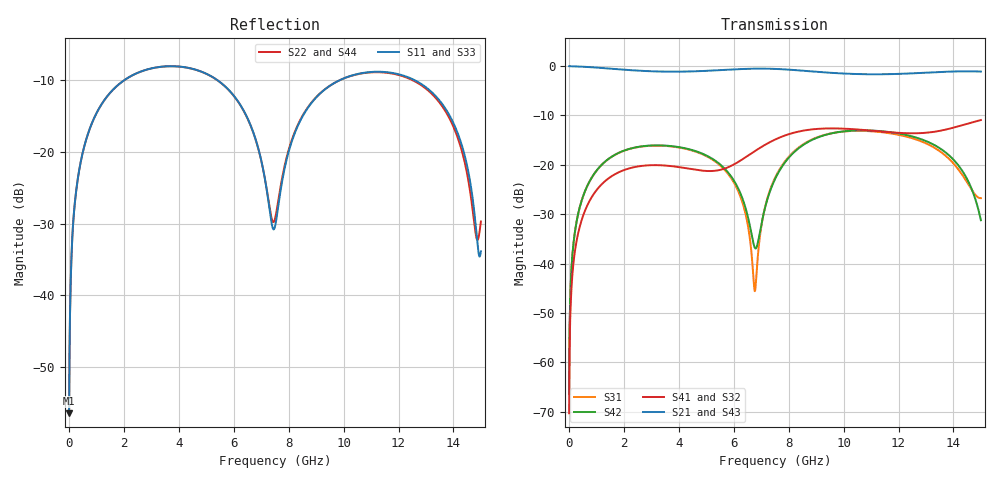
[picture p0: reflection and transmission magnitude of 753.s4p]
! Created with skrf 1.8.0 (http://scikit-rf.org).
# GHz S RI R 50.0
!freq ReS11 ImS11 ReS12 ImS12 ReS13 ImS13
! ReS14 ImS14
! ReS21 ImS21 ReS22 ImS22 ReS23 ImS23
! ReS24 ImS24
! ReS31 ImS31 ReS32 ImS32 ReS33 ImS33
! ReS34 ImS34
! ReS41 ImS41 ReS42 ImS42 ReS43 ImS43
! ReS44 ImS44
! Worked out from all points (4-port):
!   2499 points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, 5 MHz to 15 GHz, reference 50 ohm
!   strongest paths, dB at 5 MHz, 3.476 GHz, 7.19 GHz, 11.1 GHz, 15 GHz:
!     S21: 0.0, -1.1, -0.5, -1.7, -1.1
!     S43: 0.0, -1.1, -0.5, -1.6, -1.1
!     S41: -70.3, -20.1, -15.8, -13.1, -10.9
!     S32: -70.3, -20.1, -15.8, -13.1, -10.9
!     S42: -66.3, -16.1, -27.6, -13.1, -31.2
!     S31: -66.3, -16.2, -27.4, -13.2, -26.7
!   lowest |S11| = -56.4 dB at 5 MHz (marker M1), VSWR 1.00, Z = 50.1 + j0.0918 ohm
!   |S11| at or under -10 dB: start of sweep to 2.03 GHz; 5.39 GHz to 9.884 GHz (4.494 GHz wide, 58.8 % of centre); 12.56 GHz to end of sweep
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0.005  0.00121 0.000916  0.9988 -0.00235  5.94e-05 0.00048  -5.78e-05 -0.0003
       0.9988 -0.00235  0.00121 0.000916  -5.78e-05 -0.0003  5.94e-05 0.00048
       5.94e-05 0.00048  -5.78e-05 -0.0003  0.00121 0.000916  0.9988 -0.00235
       -5.78e-05 -0.0003  5.94e-05 0.00048  0.9988 -0.00235  0.00121 0.000916
0.5627345  0.0357 0.1041  0.9498 -0.2576  0.0179 0.0492  -0.0148 -0.0298
           0.9498 -0.2576  0.0357 0.1041  -0.0148 -0.0298  0.0181 0.0492
           0.0179 0.0492  -0.0148 -0.0298  0.0357 0.1041  0.9498 -0.2576
           -0.0148 -0.0298  0.0181 0.0492  0.9498 -0.2576  0.0357 0.1041
2.882451  0.3585 0.1105  0.3044 -0.8358  0.1537 0.0239  -0.0929 0.0343
          0.3044 -0.8358  0.3577 0.1117  -0.0928 0.0342  0.1552 0.02
          0.1537 0.0239  -0.0928 0.0342  0.3588 0.1105  0.3042 -0.8357
          -0.0929 0.0343  0.1552 0.02  0.3042 -0.8357  0.358 0.1118
6.765319  0.0599 -0.1125  -0.8767 -0.3456  -0.0051 -0.00129  -0.0462 0.1296
          -0.8767 -0.3456  0.0629 -0.1099  -0.0464 0.1295  -0.0135 -0.00534
          -0.0051 -0.00129  -0.0464 0.1295  0.0613 -0.115  -0.8761 -0.346
          -0.0462 0.1296  -0.0135 -0.00534  -0.8761 -0.346  0.0637 -0.1126
7.690704  0.0358 0.037  -0.9311 0.0406  0.0241 0.0889  0.0173 0.1893
          -0.9311 0.0406  0.0396 0.0383  0.017 0.1893  0.0169 0.0882
          0.0241 0.0889  0.017 0.1893  0.036 0.0336  -0.9313 0.04
          0.0173 0.1893  0.0169 0.0882  -0.9313 0.04  0.039 0.035
12.11755  0.3237 -0.1083  0.1685 0.8191  0.1697 -0.1028  0.1751 -0.1163
          0.1685 0.8191  0.3202 -0.1047  0.1751 -0.1154  0.1651 -0.1222
          0.1697 -0.1028  0.1751 -0.1154  0.3216 -0.1099  0.171 0.8192
          0.1751 -0.1163  0.1651 -0.1222  0.171 0.8192  0.3181 -0.1044
15  0.0186 0.00809  0.8723 0.1251  0.0414 -0.0201  0.0299 -0.2828
    0.8723 0.1251  0.0243 0.0218  0.0311 -0.2826  0.00148 -0.0275
    0.0414 -0.0201  0.0311 -0.2826  0.0185 0.00643  0.8728 0.1214
    0.0299 -0.2828  0.00148 -0.0275  0.8728 0.1214  0.0245 0.0204
